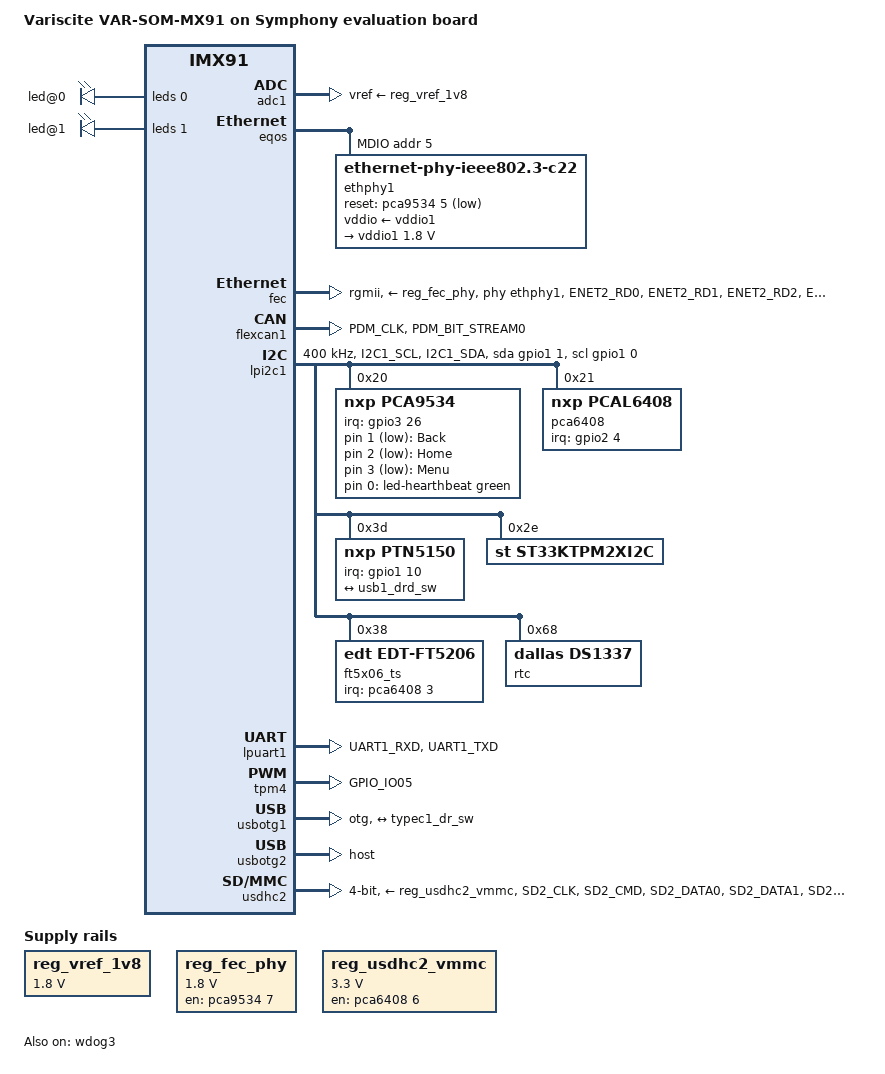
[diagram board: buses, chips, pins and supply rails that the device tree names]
// SPDX-License-Identifier: (GPL-2.0+ OR MIT)
/*
 * Variscite Symphony carrier board for VAR-SOM-MX91
 *
 * Link: https://variscite.com/carrier-boards/symphony-board/
 *
 * Copyright (C) 2026 Variscite Ltd. - https://www.variscite.com/
 *
 */

/dts-v1/;

#include <dt-bindings/leds/common.h>
#include "imx91-var-som.dtsi"

/{
	model = "Variscite VAR-SOM-MX91 on Symphony evaluation board";
	compatible = "variscite,var-som-mx91-symphony",
		     "variscite,var-som-mx91", "fsl,imx91";

	aliases {
		ethernet0 = &eqos;
		ethernet1 = &fec;
		gpio0 = &gpio1;
		gpio1 = &gpio2;
		gpio2 = &gpio3;
		gpio3 = &gpio4;
		gpio4 = &pca9534;
		gpio5 = &pca6408;
		i2c0 = &lpi2c1;
		i2c1 = &lpi2c2;
		i2c2 = &lpi2c3;
		mmc0 = &usdhc1;
		mmc1 = &usdhc2;
		serial0 = &lpuart1;
		serial1 = &lpuart2;
		serial2 = &lpuart3;
		serial3 = &lpuart4;
		serial4 = &lpuart5;
	};

	chosen {
		stdout-path = &lpuart1;
	};

	gpio-keys {
		compatible = "gpio-keys";

		key-back {
			label = "Back";
			gpios = <&pca9534 1 GPIO_ACTIVE_LOW>;
			linux,code = <KEY_BACK>;
		};

		key-home {
			label = "Home";
			gpios = <&pca9534 2 GPIO_ACTIVE_LOW>;
			linux,code = <KEY_HOME>;
		};

		key-menu {
			label = "Menu";
			gpios = <&pca9534 3 GPIO_ACTIVE_LOW>;
			linux,code = <KEY_MENU>;
		};
	};

	gpio-leds {
		compatible = "gpio-leds";

		led-hearthbeat {
			function = LED_FUNCTION_STATUS;
			color = <LED_COLOR_ID_GREEN>;
			gpios = <&pca9534 0 GPIO_ACTIVE_HIGH>;
			linux,default-trigger = "heartbeat";
		};
	};

	reg_vref_1v8: regulator-adc-vref {
		compatible = "regulator-fixed";
		regulator-name = "vref_1v8";
		regulator-min-microvolt = <1800000>;
		regulator-max-microvolt = <1800000>;
	};

	/*
	 * Needed only for Symphony <= v1.5
	 */
	reg_fec_phy: regulator-fec-phy {
		compatible = "regulator-fixed";
		regulator-name = "fec-phy";
		regulator-min-microvolt = <1800000>;
		regulator-max-microvolt = <1800000>;
		regulator-enable-ramp-delay = <20000>;
		gpio = <&pca9534 7 GPIO_ACTIVE_HIGH>;
		enable-active-high;
		regulator-always-on;
	};

	reg_usdhc2_vmmc: regulator-usdhc2 {
		compatible = "regulator-fixed";
		regulator-name = "VSD_3V3";
		regulator-min-microvolt = <3300000>;
		regulator-max-microvolt = <3300000>;
		gpio = <&pca6408 6 GPIO_ACTIVE_HIGH>;
		off-on-delay-us = <20000>;
		enable-active-high;
	};

	reserved-memory {
		ranges;
		#address-cells = <2>;
		#size-cells = <2>;

		ele_reserved: ele-reserved@87de0000 {
			compatible = "shared-dma-pool";
			reg = <0 0x87de0000 0 0x100000>;
			no-map;
		};

		linux,cma {
			compatible = "shared-dma-pool";
			alloc-ranges = <0 0x80000000 0 0x40000000>;
			reusable;
			size = <0 0x10000000>;
			linux,cma-default;
		};
	};
};

&adc1 {
	vref-supply = <&reg_vref_1v8>;
	status = "okay";
};

/* Use external instead of internal RTC*/
&bbnsm_rtc {
	status = "disabled";
};

&eqos {
	mdio {
		ethphy1: ethernet-phy@5 {
			compatible = "ethernet-phy-ieee802.3-c22";
			reg = <5>;
			eee-broken-1000t;
			reset-gpios = <&pca9534 5 GPIO_ACTIVE_LOW>;
			reset-assert-us = <10000>;
			reset-deassert-us = <20000>;
			vddio-supply = <&vddio1>;

			leds {
				#address-cells = <1>;
				#size-cells = <0>;

				led@0 {
					reg = <0>;
					color = <LED_COLOR_ID_YELLOW>;
					function = LED_FUNCTION_LAN;
					linux,default-trigger = "netdev";
				};

				led@1 {
					reg = <1>;
					color = <LED_COLOR_ID_GREEN>;
					function = LED_FUNCTION_LAN;
					linux,default-trigger = "netdev";
				};
			};

			vddio1: vddio-regulator {
				regulator-min-microvolt = <1800000>;
				regulator-max-microvolt = <1800000>;
			};
		};
	};
};

&ethphy0 {
	leds {
		#address-cells = <1>;
		#size-cells = <0>;

		led@0 {
			reg = <0>;
			color = <LED_COLOR_ID_YELLOW>;
			function = LED_FUNCTION_LAN;
			linux,default-trigger = "netdev";
		};

		led@1 {
			reg = <1>;
			color = <LED_COLOR_ID_GREEN>;
			function = LED_FUNCTION_LAN;
			linux,default-trigger = "netdev";
		};
	};
};

&fec {
	pinctrl-names = "default", "sleep";
	pinctrl-0 = <&pinctrl_fec>;
	pinctrl-1 = <&pinctrl_fec_sleep>;
	/*
	 * The required RGMII TX and RX 2ns delays are implemented directly
	 * in hardware via passive delay elements on the SOM PCB.
	 * No delay configuration is needed in software via PHY driver.
	 */
	phy-mode = "rgmii";
	phy-handle = <&ethphy1>;
	phy-supply = <&reg_fec_phy>;
	status = "okay";
};

&flexcan1 {
	pinctrl-names = "default";
	pinctrl-0 = <&pinctrl_flexcan1>;
	status = "okay";
};

&lpi2c1 {
	clock-frequency = <400000>;
	pinctrl-names = "default", "sleep", "gpio";
	pinctrl-0 = <&pinctrl_lpi2c1>;
	pinctrl-1 = <&pinctrl_lpi2c1_gpio>;
	pinctrl-2 = <&pinctrl_lpi2c1_gpio>;
	scl-gpios = <&gpio1 0 GPIO_ACTIVE_HIGH>;
	sda-gpios = <&gpio1 1 GPIO_ACTIVE_HIGH>;
	status = "okay";

	pca9534: gpio@20 {
		compatible = "nxp,pca9534";
		reg = <0x20>;
		gpio-controller;
		#gpio-cells = <2>;
		pinctrl-names = "default";
		pinctrl-0 = <&pinctrl_pca9534>;
		interrupt-parent = <&gpio3>;
		interrupts = <26 IRQ_TYPE_EDGE_FALLING>;
		wakeup-source;
	};

	pca6408: gpio@21 {
		compatible = "nxp,pcal6408";
		reg = <0x21>;
		pinctrl-names = "default";
		pinctrl-0 = <&pinctrl_pca6408>;
		gpio-controller;
		#gpio-cells = <2>;
		interrupt-controller;
		#interrupt-cells = <2>;
		interrupt-parent = <&gpio2>;
		interrupts = <4 IRQ_TYPE_EDGE_FALLING>;
		wakeup-source;

		tpm-enable-hog {
			gpio-hog;
			gpios = <4 GPIO_ACTIVE_HIGH>;
			output-high;
			line-name = "tpm_en";
		};

		/* RGB_SEL */
		lvds-brg-enable-hog {
			gpio-hog;
			gpios = <7 GPIO_ACTIVE_HIGH>;
			output-high;
			line-name = "lvds_brg_en";
		};
	};

	/* USB Type-C Controller */
	ptn5150: typec@3d {
		compatible = "nxp,ptn5150";
		reg = <0x3d>;
		pinctrl-names = "default";
		pinctrl-0 = <&pinctrl_ptn5150>;
		interrupt-parent = <&gpio1>;
		interrupts = <10 IRQ_TYPE_NONE>;

		port {
			typec1_dr_sw: endpoint {
				remote-endpoint = <&usb1_drd_sw>;
			};
		};
	};

	st33ktpm2xi2c: tpm@2e {
		compatible = "st,st33ktpm2xi2c", "tcg,tpm-tis-i2c";
		reg = <0x2e>;
	};

	/* Capacitive touch controller */
	ft5x06_ts: touchscreen@38 {
		compatible = "edt,edt-ft5206";
		reg = <0x38>;
		interrupt-parent = <&pca6408>;
		interrupts = <3 IRQ_TYPE_EDGE_FALLING>;
		touchscreen-size-x = <800>;
		touchscreen-size-y = <480>;
		touchscreen-inverted-x;
		touchscreen-inverted-y;
		wakeup-source;
	};

	/* DS1337 RTC module */
	rtc@68 {
		compatible = "dallas,ds1337";
		reg = <0x68>;
	};
};

/* pins conflict */
&lpspi8 {
	status = "disabled";
};

/* Console */
&lpuart1 {
	pinctrl-names = "default";
	pinctrl-0 = <&pinctrl_uart1>;
	status = "okay";
};

&tpm4 {
	pinctrl-names = "default", "sleep";
	pinctrl-0 = <&pinctrl_tpm4>;
	pinctrl-1 = <&pinctrl_tpm4_sleep>;
	status = "okay";
};

&usbotg1 {
	dr_mode = "otg";
	hnp-disable;
	srp-disable;
	adp-disable;
	usb-role-switch;
	samsung,picophy-pre-emp-curr-control = <3>;
	samsung,picophy-dc-vol-level-adjust = <7>;
	status = "okay";

	port {
		usb1_drd_sw: endpoint {
			remote-endpoint = <&typec1_dr_sw>;
		};
	};
};

&usbotg2 {
	dr_mode = "host";
	disable-over-current;
	status = "okay";
};

/* SD */
&usdhc2 {
	pinctrl-names = "default", "state_100mhz", "state_200mhz", "sleep";
	pinctrl-0 = <&pinctrl_usdhc2>, <&pinctrl_usdhc2_gpio>;
	pinctrl-1 = <&pinctrl_usdhc2_100mhz>, <&pinctrl_usdhc2_gpio>;
	pinctrl-2 = <&pinctrl_usdhc2_200mhz>, <&pinctrl_usdhc2_gpio>;
	pinctrl-3 = <&pinctrl_usdhc2_sleep>, <&pinctrl_usdhc2_gpio_sleep>;
	bus-width = <4>;
	cd-gpios = <&gpio3 00 GPIO_ACTIVE_LOW>;
	no-mmc;
	no-sdio;
	vmmc-supply = <&reg_usdhc2_vmmc>;
	status = "okay";
};

/* Watchdog */
&wdog3 {
	status = "okay";
};

&iomuxc {
	pinctrl_fec: fecgrp {
		fsl,pins = <
			MX91_PAD_ENET2_RD0__ENET2_RGMII_RD0		0x57e
			MX91_PAD_ENET2_RD1__ENET2_RGMII_RD1		0x57e
			MX91_PAD_ENET2_RD2__ENET2_RGMII_RD2		0x57e
			MX91_PAD_ENET2_RD3__ENET2_RGMII_RD3		0x57e
			MX91_PAD_ENET2_RXC__ENET2_RGMII_RXC		0x5fe
			MX91_PAD_ENET2_RX_CTL__ENET2_RGMII_RX_CTL	0x57e
			MX91_PAD_ENET2_TD0__ENET2_RGMII_TD0		0x57e
			MX91_PAD_ENET2_TD1__ENET2_RGMII_TD1		0x57e
			MX91_PAD_ENET2_TD2__ENET2_RGMII_TD2		0x57e
			MX91_PAD_ENET2_TD3__ENET2_RGMII_TD3		0x57e
			MX91_PAD_ENET2_TXC__ENET2_RGMII_TXC		0x5fe
			MX91_PAD_ENET2_TX_CTL__ENET2_RGMII_TX_CTL	0x57e
		>;
	};

	pinctrl_fec_sleep: fecsleepgrp {
		fsl,pins = <
			MX91_PAD_ENET2_RD0__GPIO4_IO24			0x51e
			MX91_PAD_ENET2_RD1__GPIO4_IO25			0x51e
			MX91_PAD_ENET2_RD2__GPIO4_IO26			0x51e
			MX91_PAD_ENET2_RD3__GPIO4_IO27			0x51e
			MX91_PAD_ENET2_RXC__GPIO4_IO23                  0x51e
			MX91_PAD_ENET2_RX_CTL__GPIO4_IO22		0x51e
			MX91_PAD_ENET2_TD0__GPIO4_IO19			0x51e
			MX91_PAD_ENET2_TD1__GPIO4_IO18			0x51e
			MX91_PAD_ENET2_TD2__GPIO4_IO17			0x51e
			MX91_PAD_ENET2_TD3__GPIO4_IO16			0x51e
			MX91_PAD_ENET2_TXC__GPIO4_IO21			0x51e
			MX91_PAD_ENET2_TX_CTL__GPIO4_IO20		0x51e
		>;
	};

	pinctrl_flexcan1: flexcan1grp {
		fsl,pins = <
			MX91_PAD_PDM_CLK__CAN1_TX			0x139e
			MX91_PAD_PDM_BIT_STREAM0__CAN1_RX		0x139e
		>;
	};

	pinctrl_lpi2c1: lpi2c1grp {
		fsl,pins = <
			MX91_PAD_I2C1_SCL__LPI2C1_SCL			0x40000b9e
			MX91_PAD_I2C1_SDA__LPI2C1_SDA			0x40000b9e
		>;
	};

	pinctrl_lpi2c1_gpio: lpi2c1gpiogrp {
		fsl,pins = <
			MX91_PAD_I2C1_SCL__GPIO1_IO0			0x31e
			MX91_PAD_I2C1_SDA__GPIO1_IO1			0x31e
		>;
	};

	pinctrl_pca6408: pca6408grp {
		fsl,pins = <
			MX91_PAD_GPIO_IO04__GPIO2_IO4			0x31e
		>;
	};

	pinctrl_pca9534: pca9534grp {
		fsl,pins = <
			MX91_PAD_CCM_CLKO1__GPIO3_IO26			0x31e
		>;
	};

	pinctrl_ptn5150: ptn5150grp {
		fsl,pins = <
			MX91_PAD_PDM_BIT_STREAM1__GPIO1_IO10            0x31e
		>;
	};

	pinctrl_uart1: uart1grp {
		fsl,pins = <
			MX91_PAD_UART1_RXD__LPUART1_RX			0x31e
			MX91_PAD_UART1_TXD__LPUART1_TX			0x31e
		>;
	};

	pinctrl_tpm4: tpm4grp {
		fsl,pins = <
			MX91_PAD_GPIO_IO05__TPM4_CH0			0x51e
		>;
	};

	pinctrl_tpm4_sleep: tpm4sleepgrp {
		fsl,pins = <
			MX91_PAD_GPIO_IO05__GPIO2_IO5			0x51e
		>;
	};

	pinctrl_usdhc2: usdhc2grp {
		fsl,pins = <
			MX91_PAD_SD2_CLK__USDHC2_CLK			0x1582
			MX91_PAD_SD2_CMD__USDHC2_CMD			0x1382
			MX91_PAD_SD2_DATA0__USDHC2_DATA0		0x1382
			MX91_PAD_SD2_DATA1__USDHC2_DATA1		0x1382
			MX91_PAD_SD2_DATA2__USDHC2_DATA2		0x1382
			MX91_PAD_SD2_DATA3__USDHC2_DATA3		0x1382
			MX91_PAD_SD2_VSELECT__USDHC2_VSELECT		0x51e
		>;
	};

	pinctrl_usdhc2_100mhz: usdhc2-100mhzgrp {
		fsl,pins = <
			MX91_PAD_SD2_CLK__USDHC2_CLK			0x158e
			MX91_PAD_SD2_CMD__USDHC2_CMD			0x138e
			MX91_PAD_SD2_DATA0__USDHC2_DATA0		0x138e
			MX91_PAD_SD2_DATA1__USDHC2_DATA1		0x138e
			MX91_PAD_SD2_DATA2__USDHC2_DATA2		0x138e
			MX91_PAD_SD2_DATA3__USDHC2_DATA3		0x138e
			MX91_PAD_SD2_VSELECT__USDHC2_VSELECT		0x51e
		>;
	};

	pinctrl_usdhc2_200mhz: usdhc2-200mhzgrp {
		fsl,pins = <
			MX91_PAD_SD2_CLK__USDHC2_CLK			0x15fe
			MX91_PAD_SD2_CMD__USDHC2_CMD			0x13fe
			MX91_PAD_SD2_DATA0__USDHC2_DATA0		0x13fe
			MX91_PAD_SD2_DATA1__USDHC2_DATA1		0x13fe
			MX91_PAD_SD2_DATA2__USDHC2_DATA2		0x13fe
			MX91_PAD_SD2_DATA3__USDHC2_DATA3		0x13fe
			MX91_PAD_SD2_VSELECT__USDHC2_VSELECT		0x51e
		>;
	};

	pinctrl_usdhc2_sleep: usdhc2sleep-grp {
		fsl,pins = <
			MX91_PAD_SD2_CLK__GPIO3_IO1			0x51e
			MX91_PAD_SD2_CMD__GPIO3_IO2			0x51e
			MX91_PAD_SD2_DATA0__GPIO3_IO3			0x51e
			MX91_PAD_SD2_DATA1__GPIO3_IO4			0x51e
			MX91_PAD_SD2_DATA2__GPIO3_IO5			0x51e
			MX91_PAD_SD2_DATA3__GPIO3_IO6			0x51e
			MX91_PAD_SD2_VSELECT__GPIO3_IO19		0x51e
		>;
	};

	pinctrl_usdhc2_gpio: usdhc2gpiogrp {
		fsl,pins = <
			MX91_PAD_SD2_CD_B__GPIO3_IO0			0x31e
		>;
	};

	pinctrl_usdhc2_gpio_sleep: usdhc2gpiosleep-grp {
		fsl,pins = <
			MX91_PAD_SD2_CD_B__GPIO3_IO0			0x51e
		>;
	};
};
